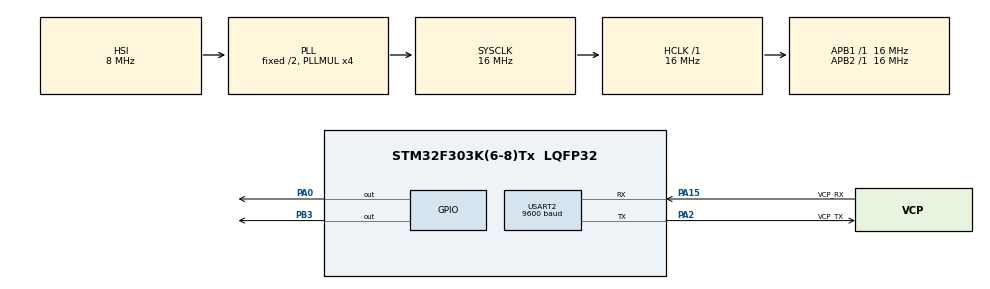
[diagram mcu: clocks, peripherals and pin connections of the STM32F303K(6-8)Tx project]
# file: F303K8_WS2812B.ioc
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Mcu.Family=STM32F3
Mcu.Name=STM32F303K(6-8)Tx
Mcu.Package=LQFP32
NVIC.PriorityGroup=NVIC_PRIORITYGROUP_4
PA0.Signal=GPIO_Output
PA13.GPIO_Label=SWDIO
PA13.Mode=Serial_Wire
PA13.Signal=SYS_JTMS-SWDIO
PA14.GPIO_Label=SWCLK
PA14.Mode=Serial_Wire
PA14.Signal=SYS_JTCK-SWCLK
PA15.GPIO_Label=VCP_RX
PA15.Mode=Asynchronous
PA15.Signal=USART2_RX
PA2.GPIO_Label=VCP_TX
PA2.Mode=Asynchronous
PA2.Signal=USART2_TX
PB3.Signal=GPIO_Output
PF0\ /\ OSC_IN.GPIO_Label=MCO
PF0\ /\ OSC_IN.Mode=HSE-External-Clock-Source
PF0\ /\ OSC_IN.Signal=RCC_OSC_IN
ProjectManager.HeapSize=0x200
ProjectManager.StackSize=0x400
ProjectManager.TargetToolchain=STM32CubeIDE
RCC.AHBFreq_Value=16000000
RCC.APB1Freq_Value=16000000
RCC.APB1TimFreq_Value=16000000
RCC.APB2Freq_Value=16000000
RCC.APB2TimFreq_Value=16000000
RCC.CortexFreq_Value=16000000
RCC.HCLKFreq_Value=16000000
RCC.HSE_VALUE=8000000
RCC.HSI_VALUE=8000000
RCC.PLLMUL=RCC_PLL_MUL4
RCC.SYSCLKFreq_VALUE=16000000
RCC.SYSCLKSourceVirtual=RCC_SYSCLKSOURCE_PLLCLK
USART2.BaudRate=9600
USART2.VirtualMode-Asynchronous=VM_ASYNC
board=NUCLEO-F303K8

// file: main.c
/* USER CODE BEGIN Header */
/**
  ******************************************************************************
  * @file           : main.c
  * @brief          : Main program body
  ******************************************************************************
  * @attention
  *
  * Copyright (c) 2023 STMicroelectronics.
  * All rights reserved.
  *
  * This software is licensed under terms that can be found in the LICENSE file
  * in the root directory of this software component.
  * If no LICENSE file comes with this software, it is provided AS-IS.
  *
  ******************************************************************************
  */
/* USER CODE END Header */
#include "main.h"

UART_HandleTypeDef huart2;

void SystemClock_Config(void);
static void MX_GPIO_Init(void);
static void MX_USART2_UART_Init(void);

int main(void)
{

  /* MCU Configuration--------------------------------------------------------*/

  /* Reset of all peripherals, Initializes the Flash interface and the Systick. */
  HAL_Init();

  /* Configure the system clock */
  SystemClock_Config();

  /* Initialize all configured peripherals */
  MX_GPIO_Init();
  MX_USART2_UART_Init();
  /* USER CODE BEGIN 2 */

  uint32_t data[4]={
		  // G             R            B
		  (0x00 << 16) | (0x00 << 8) | 0x20,
		  (0x00 << 16) | (0x20 << 8) | 0x00,
		  (0x20 << 16) | (0x00 << 8) | 0x00,
		  (0x08 << 16) | (0x08 << 8) | 0x08
  };

  const uint32_t bsrr = (uint32_t)&GPIOA->BSRR;
  for (int i=0; i<4; i++) {
	  uint32_t d=data[i];
	  asm volatile(
	  			  "MOV r1, #1 \r\n" // BSRRに H を書くため PA0 = 0ビット目
	  			  "LDR r2, =(1<<16) \r\n" // BSRRに L を書くため PA0 = 0ビット目 = 16ビットのところ
	  			  "LDR r3, =(1<<23) \r\n" // 23番目のビットを調べる 兼 24ビット分ループ
	  			  ".loop: \r\n"
	  			  "MOV r4, %[data] \r\n"
	  			  "ANDS r4, r3 \r\n" // dataのr3ビット目が1か調べる
	  			  "BNE .label1 \r\n" // 0じゃなきゃジャンプ
	  			  // 0 を出す
	  			  "STR r1, [%[bsrr]] \r\n" // set H
	  			  "NOP \r\n"
	  			  "NOP \r\n"
	  			  "NOP \r\n"
	  			  "NOP \r\n"
	  			  "NOP \r\n"
	  			  "NOP \r\n"
	  			  "STR r2, [%[bsrr]] \r\n" // set L
	  			  "NOP \r\n"
	  			  "NOP \r\n"
	  			  "NOP \r\n"
	  			  "B .label_end \r\n"
	  			  //
	  			  ".label1: \r\n"
	  			  // 1 を出す
	  			  "STR r1, [%[bsrr]] \r\n" // set H
	  			  "NOP \r\n"
	  			  "NOP \r\n"
	  			  "NOP \r\n"
	  			  "NOP \r\n"
	  			  "NOP \r\n"
	  			  "NOP \r\n"
	  			  "NOP \r\n"
	  			  "NOP \r\n"
	  			  "NOP \r\n"
	  			  "NOP \r\n"
	  			  "NOP \r\n"
	  			  "NOP \r\n"
	  			  "STR r2, [%[bsrr]] \r\n" // set L
	  			  "NOP \r\n"
	  			  ".label_end: \r\n"
	  			  "ASRS r3, #1 \r\n"
	  			  "BNE .loop \r\n"
	  	    :  // 結果を収めるレジスタ なし
	  	    : [bsrr] "r"(bsrr),
	  		  [data] "r"(d) // データ
	  	    : "r1", "r2", "r3", "r4" // 使うレジスタ
	  	    );
  }
  /* USER CODE END 2 */

  /* Infinite loop */
  while (1)
  {

    /* USER CODE BEGIN 3 */

	  HAL_GPIO_TogglePin(GPIOB, GPIO_PIN_3);
	  HAL_Delay(1000);

  }
  /* USER CODE END 3 */
}

void SystemClock_Config(void)
{
  RCC_OscInitTypeDef RCC_OscInitStruct = {0};
  RCC_ClkInitTypeDef RCC_ClkInitStruct = {0};

  /** Initializes the RCC Oscillators according to the specified parameters
  * in the RCC_OscInitTypeDef structure.
  */
  RCC_OscInitStruct.OscillatorType = RCC_OSCILLATORTYPE_HSI;
  RCC_OscInitStruct.HSIState = RCC_HSI_ON;
  RCC_OscInitStruct.HSICalibrationValue = RCC_HSICALIBRATION_DEFAULT;
  RCC_OscInitStruct.PLL.PLLState = RCC_PLL_ON;
  RCC_OscInitStruct.PLL.PLLSource = RCC_PLLSOURCE_HSI;
  RCC_OscInitStruct.PLL.PLLMUL = RCC_PLL_MUL4;
  if (HAL_RCC_OscConfig(&RCC_OscInitStruct) != HAL_OK)
  {
    Error_Handler();
  }

  /** Initializes the CPU, AHB and APB buses clocks
  */
  RCC_ClkInitStruct.ClockType = RCC_CLOCKTYPE_HCLK|RCC_CLOCKTYPE_SYSCLK
                              |RCC_CLOCKTYPE_PCLK1|RCC_CLOCKTYPE_PCLK2;
  RCC_ClkInitStruct.SYSCLKSource = RCC_SYSCLKSOURCE_PLLCLK;
  RCC_ClkInitStruct.AHBCLKDivider = RCC_SYSCLK_DIV1;
  RCC_ClkInitStruct.APB1CLKDivider = RCC_HCLK_DIV1;
  RCC_ClkInitStruct.APB2CLKDivider = RCC_HCLK_DIV1;

  if (HAL_RCC_ClockConfig(&RCC_ClkInitStruct, FLASH_LATENCY_0) != HAL_OK)
  {
    Error_Handler();
  }
}

static void MX_USART2_UART_Init(void)
{

  huart2.Instance = USART2;
  huart2.Init.BaudRate = 9600;
  huart2.Init.WordLength = UART_WORDLENGTH_8B;
  huart2.Init.StopBits = UART_STOPBITS_1;
  huart2.Init.Parity = UART_PARITY_NONE;
  huart2.Init.Mode = UART_MODE_TX_RX;
  huart2.Init.HwFlowCtl = UART_HWCONTROL_NONE;
  huart2.Init.OverSampling = UART_OVERSAMPLING_16;
  huart2.Init.OneBitSampling = UART_ONE_BIT_SAMPLE_DISABLE;
  huart2.AdvancedInit.AdvFeatureInit = UART_ADVFEATURE_NO_INIT;
  if (HAL_UART_Init(&huart2) != HAL_OK)
  {
    Error_Handler();
  }

}

static void MX_GPIO_Init(void)
{
  GPIO_InitTypeDef GPIO_InitStruct = {0};

  /* GPIO Ports Clock Enable */
  __HAL_RCC_GPIOF_CLK_ENABLE();
  __HAL_RCC_GPIOA_CLK_ENABLE();
  __HAL_RCC_GPIOB_CLK_ENABLE();

  /*Configure GPIO pin Output Level */
  HAL_GPIO_WritePin(GPIOA, GPIO_PIN_0, GPIO_PIN_RESET);

  /*Configure GPIO pin Output Level */
  HAL_GPIO_WritePin(GPIOB, GPIO_PIN_3, GPIO_PIN_RESET);

  /*Configure GPIO pin : PA0 */
  GPIO_InitStruct.Pin = GPIO_PIN_0;
  GPIO_InitStruct.Mode = GPIO_MODE_OUTPUT_PP;
  GPIO_InitStruct.Pull = GPIO_NOPULL;
  GPIO_InitStruct.Speed = GPIO_SPEED_FREQ_LOW;
  HAL_GPIO_Init(GPIOA, &GPIO_InitStruct);

  /*Configure GPIO pin : PB3 */
  GPIO_InitStruct.Pin = GPIO_PIN_3;
  GPIO_InitStruct.Mode = GPIO_MODE_OUTPUT_PP;
  GPIO_InitStruct.Pull = GPIO_NOPULL;
  GPIO_InitStruct.Speed = GPIO_SPEED_FREQ_LOW;
  HAL_GPIO_Init(GPIOB, &GPIO_InitStruct);

}

void Error_Handler(void)
{
  __disable_irq();
  while (1)
  {
  }
}
